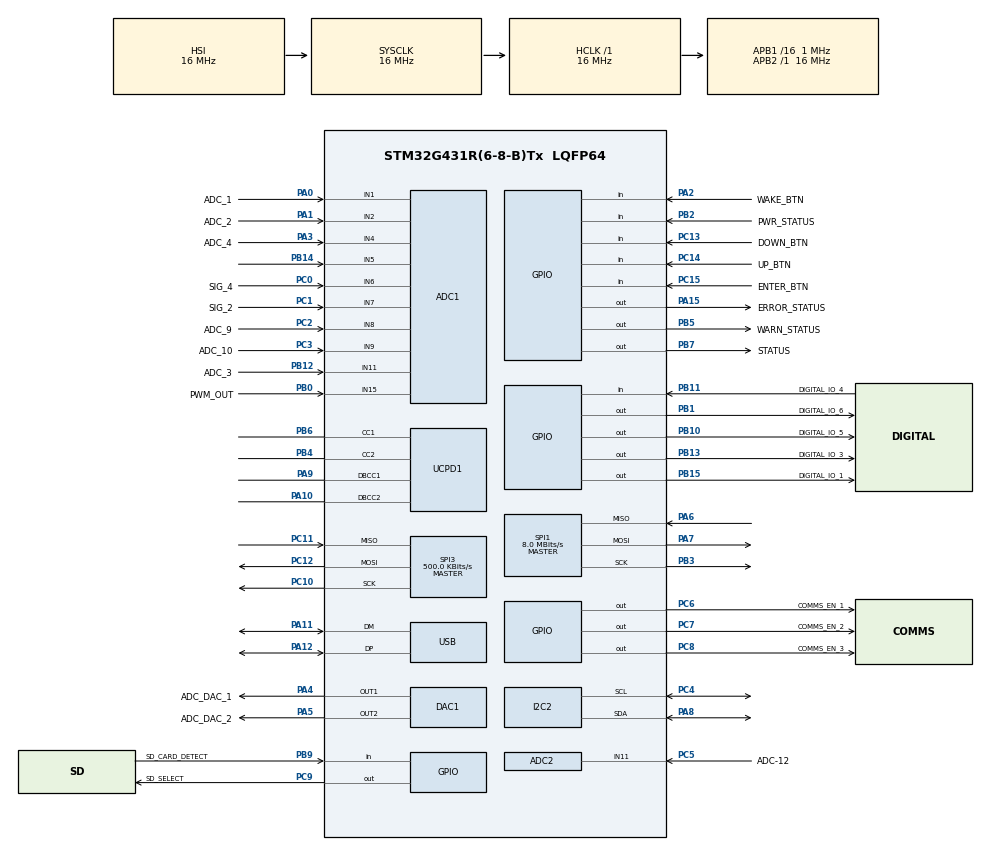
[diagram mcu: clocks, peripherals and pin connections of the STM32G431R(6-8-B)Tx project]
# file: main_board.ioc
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ADC1.Channel-0\#ChannelRegularConversion=ADC_CHANNEL_1
ADC1.NbrOfConversionFlag=1
ADC1.OffsetNumber-0\#ChannelRegularConversion=ADC_OFFSET_NONE
ADC1.Rank-0\#ChannelRegularConversion=1
ADC1.SamplingTime-0\#ChannelRegularConversion=ADC_SAMPLETIME_2CYCLES_5
ADC1.master=1
ADC2.Channel-0\#ChannelRegularConversion=ADC_CHANNEL_11
ADC2.NbrOfConversionFlag=1
ADC2.OffsetNumber-0\#ChannelRegularConversion=ADC_OFFSET_NONE
ADC2.Rank-0\#ChannelRegularConversion=1
ADC2.SamplingTime-0\#ChannelRegularConversion=ADC_SAMPLETIME_2CYCLES_5
DAC1.DAC_Channel-DAC_OUT2=DAC_CHANNEL_2
I2C2.Timing=0x00000103
Mcu.Family=STM32G4
Mcu.Name=STM32G431R(6-8-B)Tx
Mcu.Package=LQFP64
NVIC.PriorityGroup=NVIC_PRIORITYGROUP_4
PA0.GPIO_Label=ADC_1
PA0.Mode=IN1-Single-Ended
PA0.Signal=ADC1_IN1
PA1.GPIO_Label=ADC_2
PA1.Mode=IN2-Single-Ended
PA1.Signal=ADC1_IN2
PA10.Mode=EnableDeadBattery
PA10.Signal=UCPD1_DBCC2
PA11.Mode=Device
PA11.Signal=USB_DM
PA12.Mode=Device
PA12.Signal=USB_DP
PA13.Mode=Serial_Wire
PA13.Signal=SYS_JTMS-SWDIO
PA14.Mode=Serial_Wire
PA14.Signal=SYS_JTCK-SWCLK
PA15.GPIO_Label=ERROR_STATUS
PA15.GPIO_ModeDefaultOutputPP=GPIO_MODE_OUTPUT_PP
PA15.GPIO_PuPd=GPIO_PULLDOWN
PA15.Signal=GPIO_Output
PA2.GPIO_Label=WAKE_BTN
PA2.Signal=GPIO_Input
PA3.GPIO_Label=ADC_4
PA3.Mode=IN4-Single-Ended
PA3.Signal=ADC1_IN4
PA4.GPIO_Label=ADC_DAC_1
PA4.Signal=COMP_DAC11_group
PA5.GPIO_Label=ADC_DAC_2
PA5.Signal=COMP_DAC12_group
PA6.Mode=Full_Duplex_Master
PA6.Signal=SPI1_MISO
PA7.Mode=Full_Duplex_Master
PA7.Signal=SPI1_MOSI
PA8.Mode=I2C
PA8.Signal=I2C2_SDA
PA9.Mode=EnableDeadBattery
PA9.Signal=UCPD1_DBCC1
PB0.GPIO_Label=PWM_OUT
PB0.Mode=IN15-Single-Ended
PB0.Signal=ADC1_IN15
PB1.GPIO_Label=DIGITAL_IO_6
PB1.Signal=GPIO_Output
PB10.GPIO_Label=DIGITAL_IO_5
PB10.Signal=GPIO_Output
PB11.GPIO_Label=DIGITAL_IO_4
PB11.Signal=GPIO_Input
PB12.GPIO_Label=ADC_3
PB12.Mode=IN11-Single-Ended
PB12.Signal=ADC1_IN11
PB13.GPIO_Label=DIGITAL_IO_3
PB13.Signal=GPIO_Output
PB14.Mode=IN5-Single-Ended
PB14.Signal=ADC1_IN5
PB15.GPIO_Label=DIGITAL_IO_1
PB15.Signal=GPIO_Output
PB2.GPIO_Label=PWR_STATUS
PB2.Signal=GPIO_Input
PB3.Signal=SharedStack_PB3
PB3.Stacked=true
PB4.Mode=Sink_AllSignals
PB4.Signal=UCPD1_CC2
PB5.GPIO_Label=WARN_STATUS
PB5.GPIO_PuPd=GPIO_PULLDOWN
PB5.Signal=GPIO_Output
PB6.Mode=Sink_AllSignals
PB6.Signal=UCPD1_CC1
PB7.GPIO_Label=STATUS
PB7.GPIO_PuPd=GPIO_PULLDOWN
PB7.Signal=GPIO_Output
PB9.GPIO_Label=SD_CARD_DETECT
PB9.Signal=GPIO_Input
PC0.GPIO_Label=SIG_4
PC0.Mode=IN6-Single-Ended
PC0.Signal=ADC1_IN6
PC1.GPIO_Label=SIG_2
PC1.Mode=IN7-Single-Ended
PC1.Signal=ADC1_IN7
PC10.Mode=Full_Duplex_Master
PC10.Signal=SPI3_SCK
PC11.Mode=Full_Duplex_Master
PC11.Signal=SPI3_MISO
PC12.Mode=Full_Duplex_Master
PC12.Signal=SPI3_MOSI
PC13.GPIO_Label=DOWN_BTN
PC13.Signal=GPIO_Input
PC14-OSC32_IN.GPIO_Label=UP_BTN
PC14-OSC32_IN.Signal=GPIO_Input
PC15-OSC32_OUT.GPIO_Label=ENTER_BTN
PC15-OSC32_OUT.Signal=GPIO_Input
PC2.GPIO_Label=ADC_9
PC2.Mode=IN8-Single-Ended
PC2.Signal=ADC1_IN8
PC3.GPIO_Label=ADC_10
PC3.Mode=IN9-Single-Ended
PC3.Signal=ADC1_IN9
PC4.Mode=I2C
PC4.Signal=I2C2_SCL
PC5.GPIO_Label=ADC-12
PC5.Mode=IN11-Single-Ended
PC5.Signal=ADC2_IN11
PC6.GPIO_Label=COMMS_EN_1
PC6.Signal=GPIO_Output
PC7.GPIO_Label=COMMS_EN_2
PC7.Signal=GPIO_Output
PC8.GPIO_Label=COMMS_EN_3
PC8.Signal=GPIO_Output
PC9.GPIO_Label=SD_SELECT
PC9.Signal=GPIO_Output
PF0-OSC_IN.Mode=HSE-External-Oscillator
PF0-OSC_IN.Signal=RCC_OSC_IN
PF1-OSC_OUT.Mode=HSE-External-Oscillator
PF1-OSC_OUT.Signal=RCC_OSC_OUT
ProjectManager.HeapSize=0x200
ProjectManager.StackSize=0x400
ProjectManager.TargetToolchain=STM32CubeIDE
RCC.AHBFreq_Value=16000000
RCC.APB1CLKDivider=RCC_HCLK_DIV16
RCC.APB1Freq_Value=1000000
RCC.APB1TimFreq_Value=2000000
RCC.APB2Freq_Value=16000000
RCC.APB2TimFreq_Value=16000000
RCC.CortexFreq_Value=16000000
RCC.EXTERNAL_CLOCK_VALUE=12288000
RCC.HCLKFreq_Value=16000000
RCC.HSE_VALUE=8000000
RCC.HSI48_VALUE=48000000
RCC.HSI_VALUE=16000000
RCC.LSE_VALUE=32768
RCC.PLLN=12
RCC.PLLQ=RCC_PLLQ_DIV4
RCC.SYSCLKFreq_VALUE=16000000
RCC.USBFreq_Value=48000000
RCC.VCOOutputFreq_Value=192000000
SH.COMP_DAC11_group.0=DAC1_OUT1,DAC_OUT1
SH.COMP_DAC12_group.0=DAC1_OUT2,DAC_OUT2
SH.SharedStack_PB3.0=SPI1_SCK,Full_Duplex_Master
SH.SharedStack_PB3.1=SYS_JTDO-SWO
SPI1.CalculateBaudRate=8.0 MBits/s
SPI1.DataSize=SPI_DATASIZE_8BIT
SPI1.Direction=SPI_DIRECTION_2LINES
SPI1.Mode=SPI_MODE_MASTER
SPI1.VirtualType=VM_MASTER
SPI3.CalculateBaudRate=500.0 KBits/s
SPI3.Direction=SPI_DIRECTION_2LINES
SPI3.Mode=SPI_MODE_MASTER
SPI3.VirtualType=VM_MASTER
VP_ADC1_Vbat_Input.Mode=IN-Vbat
VP_SYS_VS_DBSignals.Mode=DisableDeadBatterySignals
board=custom

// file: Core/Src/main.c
/* USER CODE BEGIN Header */
/**
  ******************************************************************************
  * @file           : main.c
  * @brief          : Main program body
  ******************************************************************************
  * @attention
  *
  * Copyright (c) 2024 STMicroelectronics.
  * All rights reserved.
  *
  * This software is licensed under terms that can be found in the LICENSE file
  * in the root directory of this software component.
  * If no LICENSE file comes with this software, it is provided AS-IS.
  *
  ******************************************************************************
  */
/* USER CODE END Header */
#include "main.h"
#include "adc.h"
#include "dac.h"
#include "i2c.h"
#include "spi.h"
#include "ucpd.h"
#include "usb.h"
#include "gpio.h"

#define MCP9804_ADDR 0b0011100 // the last 3 digits change for each pin
#define MCP9804_REG_TEMP 0x05

uint16_t Size = 8;

/*FATFS SDFatFs;    // File system object for SD card logical drive
FIL MyFile;       // File object
char SDPath[4];   // SD card logical drive path*/
/* USER CODE BEGIN PV */
//static void MX_SDMMC1_SD_Init(void);

int32_t readMCP9804Temp(uint8_t tempRegAddr) {
	uint8_t tempData[2] = {0};
	int32_t tempC = -100;
		// Receive the temperature data
	//if (HAL_I2C_Master_Receive(&hi2c2, MCP9804_ADDR, tempData, 2, HAL_MAX_DELAY) != HAL_OK) { // Receive is unsuccessfull
		// Reception error
		//HAL_GPIO_WritePin(WARN_STATUS_GPIO_Port, WARN_STATUS_Pin, GPIO_PIN_RESET); // Turn on error LED
	//}
	if (HAL_I2C_IsDeviceReady (&hi2c2, MCP9804_ADDR, 2, HAL_MAX_DELAY) == HAL_OK) { // Ready is unsuccessfull
			// Reception error
		if (HAL_I2C_Master_Transmit(&hi2c2, MCP9804_ADDR, &tempRegAddr, 1, HAL_MAX_DELAY) != HAL_OK) {
			HAL_GPIO_WritePin(ERROR_STATUS_GPIO_Port, ERROR_STATUS_Pin, GPIO_PIN_RESET); // Turn on success LED
			HAL_GPIO_WritePin(WARN_STATUS_GPIO_Port, WARN_STATUS_Pin, GPIO_PIN_SET); // Turn of error LED
			HAL_GPIO_WritePin(STATUS_GPIO_Port, STATUS_Pin, GPIO_PIN_SET); // Turn of success LED
		} else {
			HAL_I2C_Master_Receive(&hi2c2, MCP9804_ADDR, tempData, 2, HAL_MAX_DELAY);
			uint16_t rawTemp = (tempData[0] << 8) | tempData[1];
			rawTemp &= 0x0FFF;  // Clear flags and keep 12 bits

			int32_t tempC = rawTemp & 0x0FFF;
			tempC /= 16.0;

			if (rawTemp & 0x1000) {  // Check sign bit
			  tempC -= 256.0;
			}
		}
	}
    return tempC;
}

/* USER CODE END PV */

void SystemClock_Config(void);

//I2C_HandleTypeDef hi2c2;   //causing error but shouldnt

int main(void)
{

  /* MCU Configuration--------------------------------------------------------*/

  /* Reset of all peripherals, Initializes the Flash interface and the Systick. */
  HAL_Init();

  /* Configure the system clock */
  SystemClock_Config();

  /* Initialize all configured peripherals */
  MX_GPIO_Init();
  MX_ADC1_Init();
  MX_ADC2_Init();
  MX_DAC1_Init();
  MX_SPI1_Init();
  MX_SPI3_Init();
  MX_UCPD1_Init();
  MX_USB_PCD_Init();
  MX_I2C2_Init();
  /* USER CODE BEGIN 2 */
  /*int32_t SDwrite;
  UINT bytesWritten;*/

  uint32_t status = HAL_ERROR;

  int num_bytes = 4;

  uint8_t dataToSend[4];
  dataToSend[0] = 0x5;// Example data
  dataToSend[1] = 0x5;// Example data
  dataToSend[2] = 0x5;// Example data
  dataToSend[3] = 0x5;// Example data

  //HAL_StatusTypeDef sts = HAL_OK;

  HAL_GPIO_WritePin(STATUS_GPIO_Port, STATUS_Pin, GPIO_PIN_SET); // Turn off success LED
  HAL_GPIO_WritePin(WARN_STATUS_GPIO_Port, WARN_STATUS_Pin, GPIO_PIN_SET); // Turn off error LED
  HAL_GPIO_WritePin(ERROR_STATUS_GPIO_Port, ERROR_STATUS_Pin, GPIO_PIN_SET); // Turn off error LED

  if (HAL_I2C_Init(&hi2c2) != HAL_OK) {
          // Initialization error
	  HAL_GPIO_WritePin(STATUS_GPIO_Port, STATUS_Pin, GPIO_PIN_RESET); // Turn on status LED
      }
  uint8_t tempRegAddr = 0x05;
  /* USER CODE END 2 */

  /* Infinite loop */
  /* USER CODE BEGIN WHILE */
  while (1)
  {// mototola or TIS versions who knows which is on or compatable with arduino due to (Frame Formats) for spi
    /* USER CODE END WHILE */
	  /*if (HAL_GPIO_ReadPin(GPIOC, GPIO_PIN_14))
	  {
		  HAL_GPIO_WritePin(GPIOB, GPIO_PIN_15, GPIO_PIN_RESET);
	  }
	  else
	  {
		  HAL_GPIO_WritePin(GPIOB, GPIO_PIN_15, GPIO_PIN_SET);
	  }*/

	HAL_Delay(1000);
	HAL_GPIO_WritePin(GPIOC, GPIO_PIN_8, GPIO_PIN_SET); // CS low Digital IO 1 COMM_EN_3
	status = HAL_SPI_Transmit(&hspi1, (uint8_t *)&dataToSend, num_bytes, HAL_MAX_DELAY);
	HAL_GPIO_WritePin(GPIOC, GPIO_PIN_8, GPIO_PIN_RESET); // CS high Digital IO 1 COMM_EN_3

	if (status == HAL_OK)
	{
		HAL_GPIO_WritePin(STATUS_GPIO_Port, STATUS_Pin, GPIO_PIN_RESET); // Turn on success LED
		HAL_GPIO_WritePin(WARN_STATUS_GPIO_Port, WARN_STATUS_Pin, GPIO_PIN_SET); // Turn of error LED
		HAL_GPIO_WritePin(ERROR_STATUS_GPIO_Port, ERROR_STATUS_Pin, GPIO_PIN_SET); // Turn of error LED
	} else if (status == HAL_BUSY){
		HAL_GPIO_WritePin(ERROR_STATUS_GPIO_Port, ERROR_STATUS_Pin, GPIO_PIN_SET); // Turn of error LED
		HAL_GPIO_WritePin(WARN_STATUS_GPIO_Port, WARN_STATUS_Pin, GPIO_PIN_RESET); // Turn on error LED
		HAL_GPIO_WritePin(STATUS_GPIO_Port, STATUS_Pin, GPIO_PIN_SET); // Turn of success LED
	}
	else
	{
		HAL_GPIO_WritePin(ERROR_STATUS_GPIO_Port, ERROR_STATUS_Pin, GPIO_PIN_RESET); // Turn on error LED
		HAL_GPIO_WritePin(WARN_STATUS_GPIO_Port, WARN_STATUS_Pin, GPIO_PIN_SET); // Turn of error LED
		HAL_GPIO_WritePin(STATUS_GPIO_Port, STATUS_Pin, GPIO_PIN_SET); // Turn of success LED
	}

	HAL_Delay(1000);
	HAL_GPIO_WritePin(ERROR_STATUS_GPIO_Port, ERROR_STATUS_Pin, GPIO_PIN_SET); // Turn on error LED
	HAL_GPIO_WritePin(WARN_STATUS_GPIO_Port, WARN_STATUS_Pin, GPIO_PIN_SET); // Turn of error LED
	HAL_GPIO_WritePin(STATUS_GPIO_Port, STATUS_Pin, GPIO_PIN_SET); // Turn of success LED
	int32_t tempC = readMCP9804Temp(tempRegAddr);
	if (tempC == -100) {
		//temp read error
		HAL_GPIO_WritePin(ERROR_STATUS_GPIO_Port, ERROR_STATUS_Pin, GPIO_PIN_RESET); // Turn on error LED
		HAL_GPIO_WritePin(WARN_STATUS_GPIO_Port, WARN_STATUS_Pin, GPIO_PIN_RESET); // Turn of error LED
		HAL_GPIO_WritePin(STATUS_GPIO_Port, STATUS_Pin, GPIO_PIN_RESET); // Turn of success LED
	}
	dataToSend[0] = (tempC >> 24) & 0xFF;
	dataToSend[1] = (tempC >> 16) & 0xFF;
	dataToSend[2] = (tempC >> 8) & 0xFF;
	dataToSend[3] = tempC & 0xFF;

	  /*
	HAL_GPIO_WritePin(GPIOB, GPIO_PIN_15, GPIO_PIN_SET); // CS high Digital IO 1
    status = HAL_SPI_Transmit(&hspi1, &dataToSend, 1, HAL_MAX_DELAY);
    HAL_GPIO_WritePin(GPIOB, GPIO_PIN_15, GPIO_PIN_RESET); // CS high Digital IO 0
	HAL_I2C_Mem_Read(&hi2c2, MCP9804_ADDR, MCP9804_REG_TEMP, I2C_MEMADD_SIZE_8BIT, tempReg, 2, HAL_MAX_DELAY); // unchecked. &hi2c2 depends on what conector to chip
	if (sts == HAL_OK)
	{
	HAL_GPIO_WritePin(ERROR_STATUS_GPIO_Port, ERROR_STATUS_Pin, GPIO_PIN_RESET); // Turn on success LED
	}
	else
	{
	HAL_GPIO_WritePin(WARN_STATUS_GPIO_Port, WARN_STATUS_Pin, GPIO_PIN_RESET); // Turn on error LED
	}

	if (tempC >= 0)
	{
	HAL_GPIO_WritePin(STATUS_GPIO_Port, STATUS_Pin, GPIO_PIN_RESET); // Turn on success LED
	}
	else
	{
	HAL_GPIO_WritePin(STATUS_GPIO_Port, STATUS_Pin, GPIO_PIN_SET); // Turn on error LED
	}*/

  }
}

void SystemClock_Config(void)
{
  RCC_OscInitTypeDef RCC_OscInitStruct = {0};
  RCC_ClkInitTypeDef RCC_ClkInitStruct = {0};

  /** Configure the main internal regulator output voltage
  */
  HAL_PWREx_ControlVoltageScaling(PWR_REGULATOR_VOLTAGE_SCALE1);

  /** Initializes the RCC Oscillators according to the specified parameters
  * in the RCC_OscInitTypeDef structure.
  */
  RCC_OscInitStruct.OscillatorType = RCC_OSCILLATORTYPE_HSI;
  RCC_OscInitStruct.HSIState = RCC_HSI_ON;
  RCC_OscInitStruct.HSICalibrationValue = RCC_HSICALIBRATION_DEFAULT;
  RCC_OscInitStruct.PLL.PLLState = RCC_PLL_ON;
  RCC_OscInitStruct.PLL.PLLSource = RCC_PLLSOURCE_HSI;
  RCC_OscInitStruct.PLL.PLLM = RCC_PLLM_DIV1;
  RCC_OscInitStruct.PLL.PLLN = 12;
  RCC_OscInitStruct.PLL.PLLP = RCC_PLLP_DIV2;
  RCC_OscInitStruct.PLL.PLLQ = RCC_PLLQ_DIV4;
  RCC_OscInitStruct.PLL.PLLR = RCC_PLLR_DIV2;
  if (HAL_RCC_OscConfig(&RCC_OscInitStruct) != HAL_OK)
  {
    Error_Handler();
  }

  /** Initializes the CPU, AHB and APB buses clocks
  */
  RCC_ClkInitStruct.ClockType = RCC_CLOCKTYPE_HCLK|RCC_CLOCKTYPE_SYSCLK
                              |RCC_CLOCKTYPE_PCLK1|RCC_CLOCKTYPE_PCLK2;
  RCC_ClkInitStruct.SYSCLKSource = RCC_SYSCLKSOURCE_HSI;
  RCC_ClkInitStruct.AHBCLKDivider = RCC_SYSCLK_DIV1;
  RCC_ClkInitStruct.APB1CLKDivider = RCC_HCLK_DIV16;
  RCC_ClkInitStruct.APB2CLKDivider = RCC_HCLK_DIV1;

  if (HAL_RCC_ClockConfig(&RCC_ClkInitStruct, FLASH_LATENCY_0) != HAL_OK)
  {
    Error_Handler();
  }
}

void Error_Handler(void)
{
  __disable_irq();
  while (1)
  {
  }
}
